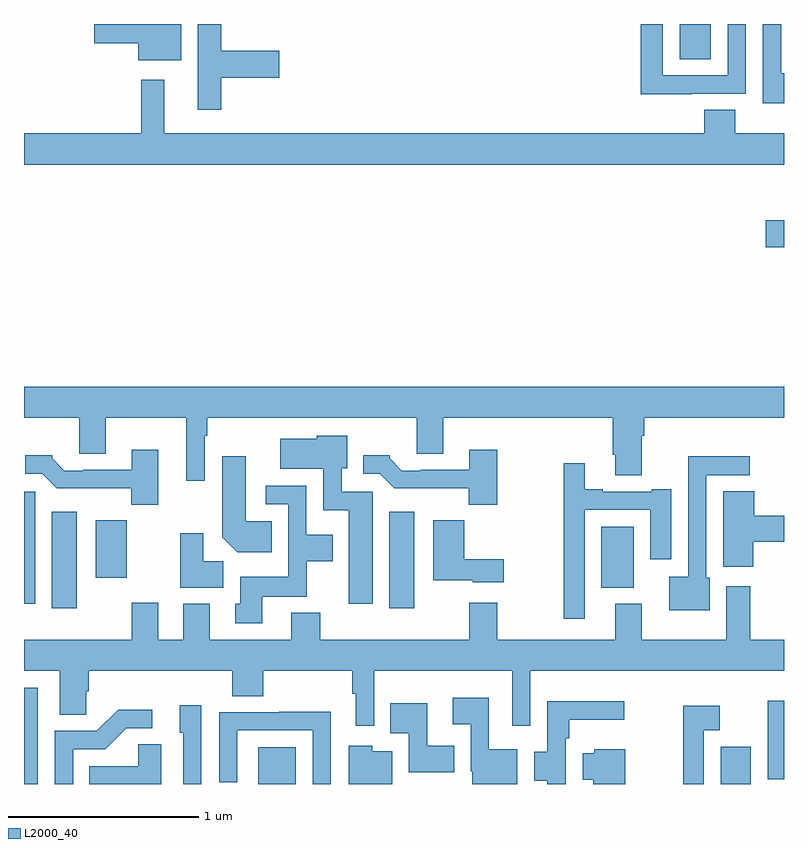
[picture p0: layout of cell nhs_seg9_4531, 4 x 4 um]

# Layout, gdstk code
import gdstk
lib = gdstk.Library(unit=1e-6, precision=1e-09)
def R(c, l, rs):  # rectangles x0, y0, x1, y1
    for r in rs: c.add(gdstk.rectangle(r[:2], r[2:], *l))
def P(c, l, *ps):  # polygons
    for p in ps: c.add(gdstk.Polygon(p, *l))
L2000_40 = (2000, 40)

nhs_seg9_4531 = lib.new_cell('nhs_seg9_4531')
R(nhs_seg9_4531, L2000_40, [(371,1186.5,371.073,1187.007), (372.233,1186.5,372.43,1186.693), (374.666,1186.5,374.824,1186.696), (374.915,1186.524,375,1186.939), (371.147,1187.424,371.278,1187.932), (372.923,1187.424,373.054,1187.932), (371,1187.448,371.059,1188.039), (374.039,1187.534,374.209,1187.854), (374.904,1189.325,375,1189.467), (374.45,1190.314,374.614,1190.5)])
P(nhs_seg9_4531, L2000_40, [(371.827,1190.5),(371.37,1190.5),(371.37,1190.398),(371.6,1190.398),(371.6,1190.309),(371.827,1190.309)],
  [(375,1190.242),(374.985,1190.242),(374.985,1190.5),(374.889,1190.5),(374.889,1190.082),(375,1190.082)],
  [(374.515,1190.133),(374.799,1190.133),(374.799,1190.5),(374.703,1190.5),(374.703,1190.229),(374.361,1190.229),(374.361,1190.5),(374.245,1190.5),(374.245,1190.129),(374.515,1190.129)],
  [(372.037,1190.218),(372.343,1190.218),(372.343,1190.36),(372.037,1190.36),(372.037,1190.5),(371.915,1190.5),(371.915,1190.049),(372.037,1190.049)],
  [(375,1189.924),(374.744,1189.924),(374.744,1190.048),(374.579,1190.048),(374.579,1189.924),(371.737,1189.924),(371.737,1190.206),(371.616,1190.206),(371.616,1189.924),(371,1189.924),(371,1189.76),(375,1189.76)],
  [(371.952,1188.332),(371.965,1188.332),(371.965,1188.428),(373.067,1188.428),(373.067,1188.238),(373.207,1188.238),(373.207,1188.428),(374.099,1188.428),(374.099,1188.232),(374.111,1188.232),(374.111,1188.124),(374.251,1188.124),(374.251,1188.332),(374.264,1188.332),(374.264,1188.428),(375,1188.428),(375,1188.592),(371,1188.592),(371,1188.428),(371.291,1188.428),(371.291,1188.238),(371.431,1188.238),(371.431,1188.428),(371.855,1188.428),(371.855,1188.096),(371.952,1188.096)],
  [(372.835,1188.039),(372.672,1188.039),(372.672,1188.162),(372.7,1188.162),(372.7,1188.334),(372.54,1188.334),(372.54,1188.316),(372.348,1188.316),(372.348,1188.158),(372.576,1188.158),(372.576,1187.942),(372.71,1187.942),(372.71,1187.448),(372.835,1187.448)],
  [(371.707,1188.259),(371.567,1188.259),(371.567,1188.153),(371.311,1188.153),(371.311,1188.15),(371.212,1188.15),(371.148,1188.214),(371.148,1188.229),(371.006,1188.229),(371.006,1188.132),(371.097,1188.132),(371.173,1188.056),(371.565,1188.056),(371.565,1187.969),(371.707,1187.969)],
  [(373.491,1188.259),(373.343,1188.259),(373.343,1188.153),(373.087,1188.153),(373.087,1188.15),(372.988,1188.15),(372.924,1188.214),(372.924,1188.229),(372.785,1188.229),(372.785,1188.132),(372.873,1188.132),(372.949,1188.056),(373.341,1188.056),(373.341,1187.969),(373.491,1187.969)],
  [(372.305,1187.884),(372.166,1187.884),(372.166,1188.226),(372.044,1188.226),(372.044,1187.798),(372.122,1187.72),(372.305,1187.72)],
  [(374.608,1187.586),(374.592,1187.586),(374.592,1188.126),(374.821,1188.126),(374.821,1188.224),(374.496,1188.224),(374.496,1187.59),(374.396,1187.59),(374.396,1187.414),(374.608,1187.414)],
  [(373.95,1187.943),(374.297,1187.943),(374.297,1187.682),(374.407,1187.682),(374.407,1188.052),(374.303,1188.052),(374.303,1188.039),(374.047,1188.039),(374.047,1188.052),(373.951,1188.052),(373.951,1188.187),(373.842,1188.187),(373.842,1187.37),(373.95,1187.37)],
  [(372.253,1187.486),(372.489,1187.486),(372.489,1187.672),(372.625,1187.672),(372.625,1187.812),(372.486,1187.812),(372.486,1188.069),(372.273,1188.069),(372.273,1187.973),(372.39,1187.973),(372.39,1187.59),(372.137,1187.59),(372.137,1187.448),(372.113,1187.448),(372.113,1187.346),(372.253,1187.346)],
  [(374.838,1187.776),(375,1187.776),(375,1187.912),(374.843,1187.912),(374.843,1188.041),(374.681,1188.041),(374.681,1187.643),(374.838,1187.643)],
  [(371.542,1187.739),(371.54,1187.739),(371.54,1187.887),(371.378,1187.887),(371.378,1187.586),(371.542,1187.586)],
  [(373.525,1187.683),(373.316,1187.683),(373.316,1187.887),(373.154,1187.887),(373.154,1187.573),(373.362,1187.573),(373.362,1187.561),(373.525,1187.561)],
  [(372.049,1187.672),(371.944,1187.672),(371.944,1187.821),(371.822,1187.821),(371.822,1187.534),(372.049,1187.534)],
  [(372.843,1187.096),(373.569,1187.096),(373.569,1186.806),(373.665,1186.806),(373.665,1187.096),(375,1187.096),(375,1187.26),(374.822,1187.26),(374.822,1187.542),(374.696,1187.542),(374.696,1187.26),(374.251,1187.26),(374.251,1187.449),(374.111,1187.449),(374.111,1187.26),(373.491,1187.26),(373.491,1187.455),(373.343,1187.455),(373.343,1187.26),(372.56,1187.26),(372.56,1187.401),(372.407,1187.401),(372.407,1187.26),(371.977,1187.26),(371.977,1187.449),(371.837,1187.449),(371.837,1187.26),(371.707,1187.26),(371.707,1187.455),(371.567,1187.455),(371.567,1187.26),(371,1187.26),(371,1187.096),(371.189,1187.096),(371.189,1186.864),(371.328,1186.864),(371.328,1186.987),(371.342,1186.987),(371.342,1187.096),(372.095,1187.096),(372.095,1186.963),(372.26,1186.963),(372.26,1187.096),(372.727,1187.096),(372.727,1186.975),(372.746,1186.975),(372.746,1186.806),(372.843,1186.806)],
  [(373.597,1186.684),(373.446,1186.684),(373.446,1186.954),(373.257,1186.954),(373.257,1186.814),(373.35,1186.814),(373.35,1186.566),(373.358,1186.566),(373.358,1186.5),(373.597,1186.5)],
  [(373.851,1186.742),(373.871,1186.742),(373.871,1186.838),(374.158,1186.838),(374.158,1186.936),(373.755,1186.936),(373.755,1186.671),(373.685,1186.671),(373.685,1186.516),(373.755,1186.516),(373.755,1186.5),(373.851,1186.5)],
  [(373.265,1186.702),(373.123,1186.702),(373.123,1186.924),(372.928,1186.924),(372.928,1186.766),(373.026,1186.766),(373.026,1186.562),(373.265,1186.562)],
  [(371.934,1186.915),(371.819,1186.915),(371.819,1186.77),(371.838,1186.77),(371.838,1186.5),(371.934,1186.5)],
  [(374.577,1186.784),(374.662,1186.784),(374.662,1186.912),(374.469,1186.912),(374.469,1186.5),(374.577,1186.5)],
  [(371.259,1186.683),(371.428,1186.683),(371.539,1186.794),(371.674,1186.794),(371.674,1186.892),(371.495,1186.892),(371.382,1186.779),(371.163,1186.779),(371.163,1186.5),(371.259,1186.5)],
  [(372.615,1186.88),(372.343,1186.88),(372.343,1186.878),(372.027,1186.878),(372.027,1186.509),(372.123,1186.509),(372.123,1186.782),(372.519,1186.782),(372.519,1186.5),(372.615,1186.5)],
  [(371.722,1186.709),(371.601,1186.709),(371.601,1186.594),(371.344,1186.594),(371.344,1186.5),(371.722,1186.5)],
  [(372.937,1186.672),(372.832,1186.672),(372.832,1186.702),(372.71,1186.702),(372.71,1186.5),(372.937,1186.5)],
  [(374.164,1186.684),(374.001,1186.684),(374.001,1186.663),(373.94,1186.663),(373.94,1186.523),(373.997,1186.523),(373.997,1186.5),(374.164,1186.5)])

lib.write_gds('nhs_seg9_4531.gds')
